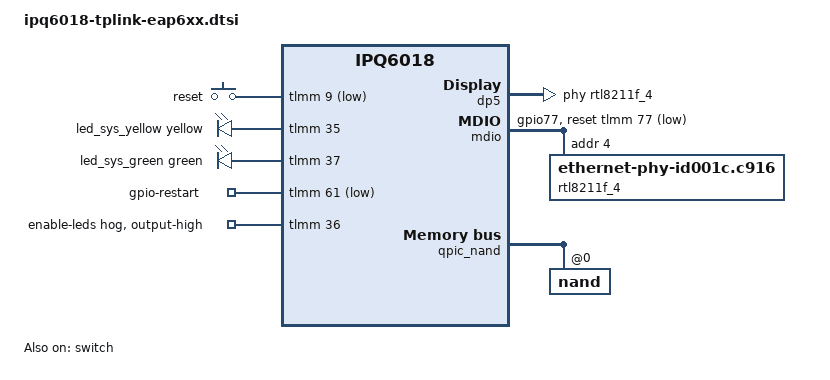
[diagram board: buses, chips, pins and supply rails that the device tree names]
// SPDX-License-Identifier: GPL-2.0-or-later OR MIT

#include "ipq6018.dtsi"
#include "ipq6018-ess.dtsi"
#include "ipq6018-nss.dtsi"
#include "ipq6018-common.dtsi"
#include "ipq6018-cp-cpu.dtsi"

#include <dt-bindings/gpio/gpio.h>
#include <dt-bindings/input/input.h>
#include <dt-bindings/leds/common.h>

/ {
	aliases {
		serial0 = &blsp1_uart3;
		led-boot = &led_sys_green;
		led-failsafe = &led_sys_yellow;
		led-running = &led_sys_green;
		led-upgrade = &led_sys_yellow;
	};

	chosen {
		stdout-path = "serial0:115200n8";
		bootargs-append = " root=/dev/ubiblock0_1";
	};

	keys {
		compatible = "gpio-keys";

		reset {
			label = "reset";
			gpios = <&tlmm 9 GPIO_ACTIVE_LOW>;
			linux,code = <KEY_RESTART>;
		};
	};

	leds {
		compatible = "gpio-leds";

		led_sys_yellow: sys-yellow {
			function = "system";
			color = <LED_COLOR_ID_YELLOW>;
			gpios = <&tlmm 35 GPIO_ACTIVE_HIGH>;
		};

		led_sys_green: sys-green {
			function = "system";
			color = <LED_COLOR_ID_GREEN>;
			gpios = <&tlmm 37 GPIO_ACTIVE_HIGH>;
		};
	};

	gpio-restart {
		compatible = "gpio-restart";
		gpios = <&tlmm 61 GPIO_ACTIVE_LOW>;
		open-source;
	};
};

&tlmm {
	phy_reset_pins: phy-reset-pins {
		pins = "gpio77";
		function = "gpio";
		drive-strength = <8>;
		bias-pull-up;
	};

	led_enable {
		gpio-hog;
		output-high;
		gpios = <36 GPIO_ACTIVE_HIGH>;
		line-name = "enable-leds";
	};
};

&dp5 {
	status = "okay";
	phy-handle = <&rtl8211f_4>;
	label = "lan";
};

&edma {
	status = "okay";
};

&mdio {
	status = "okay";

	pinctrl-0 = <&mdio_pins>, <&phy_reset_pins>;
	pinctrl-names = "default";
	reset-gpios = <&tlmm 77 GPIO_ACTIVE_LOW>;

	rtl8211f_4: ethernet-phy@4 {
		compatible = "ethernet-phy-id001c.c916";
		reg = <4>;

		realtek,clkout-disable;
		realtek,aldps-enable;
	};
};

&switch {
	switch_lan_bmp = <ESS_PORT5>;
	switch_mac_mode1 = <MAC_MODE_SGMII_PLUS>;
	status = "okay";

	qcom,port_phyinfo {
		port@5 {
			port_id = <5>;
			phy_address = <4>;
			port_mac_sel = "QGMAC_PORT";
		};
	};
};

&qpic_nand {
	status = "okay";

	nand@0 {
		reg = <0>;

		nand-ecc-strength = <4>;
		nand-ecc-step-size = <512>;
		nand-bus-width = <8>;

		partitions {
			compatible = "qcom,smem-part";
		};
	};
};
